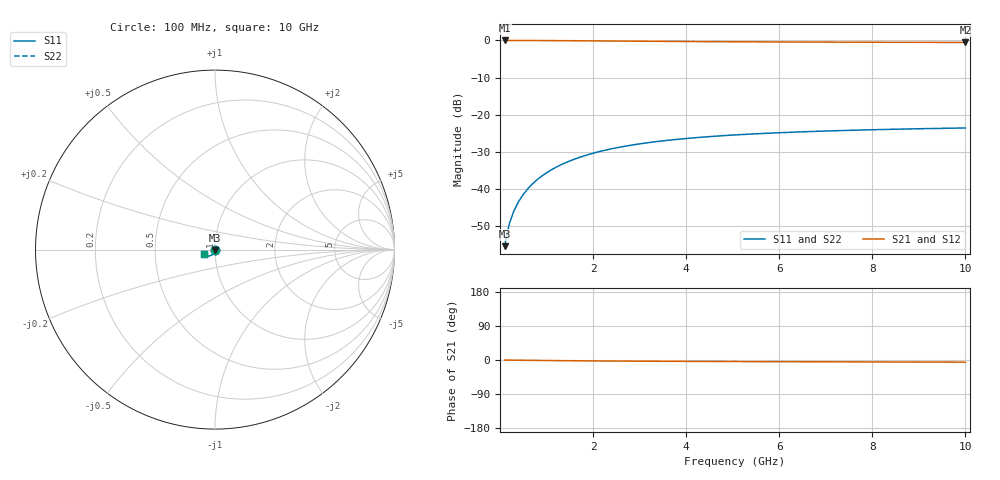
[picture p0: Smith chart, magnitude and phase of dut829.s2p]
! Touchstone file exported from HFSS 2024.1.0
!  File:  C:/UserFiles/LocalFiles/RDL_TSV_Batchsim/temp_TSV1_829_1779879132.aedt
!  Generated:  06:57:14 PM May 27, 2026
!  Design:  TSV1
!  Project:  temp_TSV1_829_1779879132
!  Setup:  Setup1
!  Solution:  Sweep
! Variables:
!  dtsv = 11.75um
!  hbump = 3um
!  htsv = 89um
!  lrdl = 252.1521522um
!  p = 40
!  p1 = 40.42um
!  t = 500um
!  trdl = 3um
!  wrdl = 24.89489489um
# GHz S MA R 50.000000
! Terminal data exported
! Port[1] = TSV22_T1
! Port[2] = TSV22_T2
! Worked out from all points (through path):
!   100 points, 100 MHz to 10 GHz, reference 50 ohm
!   highest |S21| = 0.00 dB at 100 MHz (marker M1); lowest = -0.5 dB at 10 GHz (marker M2)
!   lowest |S11| = -55.5 dB at 100 MHz (marker M3), VSWR 1.00, Z = 50 - j0.168 ohm
!   |S11| at or under -10 dB: start of sweep to end of sweep
!   |S22| runs from -55.5 to -23.6 dB; largest |S21 - S12| = 2.3e-15
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0.1  0.001684 -87.4  0.9998 -0.1  0.9998 -0.1  0.001684 -87.4
! Gamma 0 0 0 0
! Port Impedance 50 0 50 0
0.2  0.003363 -90.7  0.9997 -0.3  0.9997 -0.3  0.003363 -90.7
0.3  0.005044 -92.7  0.9995 -0.4  0.9995 -0.4  0.005044 -92.7
0.4  0.00672 -94.4  0.9991 -0.6  0.9991 -0.6  0.00672 -94.4
0.5  0.008387 -96.1  0.9988 -0.7  0.9988 -0.7  0.008387 -96.1
0.6  0.01004 -97.6  0.9983 -0.8  0.9983 -0.8  0.01004 -97.6
0.7  0.01167 -99.1  0.9978 -1.0  0.9978 -1.0  0.01167 -99.1
0.8  0.01328 -100.6  0.9972 -1.1  0.9972 -1.1  0.01328 -100.6
0.9  0.01487 -102.1  0.9965 -1.2  0.9965 -1.2  0.01487 -102.1
1.1  0.01795 -104.9  0.995 -1.4  0.995 -1.4  0.01795 -104.9
1.4  0.02233 -108.9  0.9925 -1.8  0.9925 -1.8  0.02233 -108.9
1.6  0.02508 -111.4  0.9906 -2.0  0.9906 -2.0  0.02508 -111.4
1.8  0.02768 -113.8  0.9886 -2.2  0.9886 -2.2  0.02768 -113.8
2.1  0.0313 -117.2  0.9856 -2.5  0.9856 -2.5  0.0313 -117.2
2.5  0.03564 -121.4  0.9815 -2.8  0.9815 -2.8  0.03564 -121.4
2.9  0.03944 -125.1  0.9775 -3.1  0.9775 -3.1  0.03944 -125.1
3.4  0.04353 -129.2  0.9727 -3.4  0.9727 -3.4  0.04353 -129.2
4.2  0.04884 -134.8  0.9659 -3.8  0.9659 -3.8  0.04884 -134.8
5.1  0.05343 -139.9  0.9596 -4.1  0.9596 -4.1  0.05343 -139.9
6.7  0.05923 -146.8  0.951 -4.7  0.951 -4.7  0.05923 -146.8
8.4  0.06334 -152.1  0.9445 -5.2  0.9445 -5.2  0.06334 -152.1
10  0.06606 -156.1  0.94 -5.7  0.94 -5.7  0.06606 -156.1
